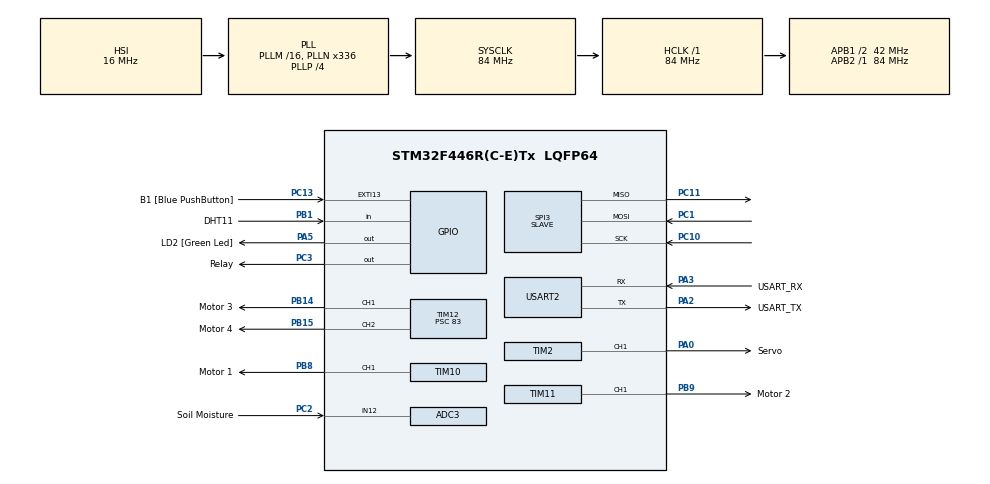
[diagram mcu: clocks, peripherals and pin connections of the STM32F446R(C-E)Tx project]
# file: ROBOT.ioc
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ADC3.Channel-0\#ChannelRegularConversion=ADC_CHANNEL_12
ADC3.ClockPrescaler=ADC_CLOCK_SYNC_PCLK_DIV6
ADC3.ContinuousConvMode=ENABLE
ADC3.NbrOfConversionFlag=1
ADC3.Rank-0\#ChannelRegularConversion=1
ADC3.SamplingTime-0\#ChannelRegularConversion=ADC_SAMPLETIME_3CYCLES
FREERTOS.Tasks01=TASK1,0,128,TASK1_Init,Default,NULL,Dynamic,NULL,NULL;TASK2,0,128,TASK2_Init,Default,NULL,Dynamic,NULL,NULL;TASK3,0,128,TASK3_Init,Default,NULL,Dynamic,NULL,NULL
FREERTOS.configUSE_NEWLIB_REENTRANT=1
Mcu.Family=STM32F4
Mcu.Name=STM32F446R(C-E)Tx
Mcu.Package=LQFP64
NVIC.PriorityGroup=NVIC_PRIORITYGROUP_4
NVIC.TIM1_UP_TIM10_IRQn=true\:15\:0\:false\:false\:true\:false\:false\:true\:true
NVIC.TimeBase=TIM1_UP_TIM10_IRQn
NVIC.TimeBaseIP=TIM1
PA0-WKUP.GPIO_Label=Servo
PA0-WKUP.Signal=S_TIM2_CH1_ETR
PA13.GPIO_Label=TMS
PA13.Mode=Serial_Wire
PA13.Signal=SYS_JTMS-SWDIO
PA14.GPIO_Label=TCK
PA14.Mode=Serial_Wire
PA14.Signal=SYS_JTCK-SWCLK
PA2.GPIO_Label=USART_TX
PA2.Mode=Asynchronous
PA2.Signal=USART2_TX
PA3.GPIO_Label=USART_RX
PA3.Mode=Asynchronous
PA3.Signal=USART2_RX
PA5.GPIO_Label=LD2 [Green Led]
PA5.Signal=GPIO_Output
PB1.GPIO_Label=DHT11
PB1.Signal=GPIO_Input
PB14.GPIO_Label=Motor 3
PB14.Signal=S_TIM12_CH1
PB15.GPIO_Label=Motor 4
PB15.Signal=S_TIM12_CH2
PB3.GPIO_Label=SWO
PB3.Signal=SYS_JTDO-SWO
PB8.GPIO_Label=Motor 1
PB8.Signal=S_TIM10_CH1
PB9.GPIO_Label=Motor 2
PB9.Signal=S_TIM11_CH1
PC1.Mode=Full_Duplex_Slave
PC1.Signal=SPI3_MOSI
PC10.Mode=Full_Duplex_Slave
PC10.Signal=SPI3_SCK
PC11.Mode=Full_Duplex_Slave
PC11.Signal=SPI3_MISO
PC13.GPIO_Label=B1 [Blue PushButton]
PC13.GPIO_ModeDefaultEXTI=GPIO_MODE_IT_FALLING
PC13.Signal=GPXTI13
PC14-OSC32_IN.Mode=LSE-External-Oscillator
PC14-OSC32_IN.Signal=RCC_OSC32_IN
PC15-OSC32_OUT.Mode=LSE-External-Oscillator
PC15-OSC32_OUT.Signal=RCC_OSC32_OUT
PC2.GPIO_Label=Soil Moisture
PC2.Signal=ADCx_IN12
PC3.GPIO_Label=Relay
PC3.Signal=GPIO_Output
PH0-OSC_IN.Mode=HSE-External-Oscillator
PH0-OSC_IN.Signal=RCC_OSC_IN
PH1-OSC_OUT.Mode=HSE-External-Oscillator
PH1-OSC_OUT.Signal=RCC_OSC_OUT
ProjectManager.HeapSize=0x200
ProjectManager.StackSize=0x400
ProjectManager.TargetToolchain=STM32CubeIDE
RCC.48MHZClocksFreq_Value=84000000
RCC.AHBFreq_Value=84000000
RCC.APB1CLKDivider=RCC_HCLK_DIV2
RCC.APB1Freq_Value=42000000
RCC.APB1TimFreq_Value=84000000
RCC.APB2Freq_Value=84000000
RCC.APB2TimFreq_Value=84000000
RCC.CortexFreq_Value=84000000
RCC.FLatency-AdvancedSettings=FLASH_LATENCY_2
RCC.HCLKFreq_Value=84000000
RCC.HSE_VALUE=8000000
RCC.HSI_VALUE=16000000
RCC.PLLN=336
RCC.PLLP=RCC_PLLP_DIV4
RCC.SYSCLKFreq_VALUE=84000000
RCC.SYSCLKSource=RCC_SYSCLKSOURCE_PLLCLK
RCC.USBFreq_Value=168000000
RCC.VCOOutputFreq_Value=336000000
SH.ADCx_IN12.0=ADC3_IN12,IN12
SH.S_TIM10_CH1.0=TIM10_CH1,PWM Generation1 CH1
SH.S_TIM11_CH1.0=TIM11_CH1,PWM Generation1 CH1
SH.S_TIM12_CH1.0=TIM12_CH1,PWM Generation1 CH1
SH.S_TIM12_CH2.0=TIM12_CH2,PWM Generation2 CH2
SH.S_TIM2_CH1_ETR.0=TIM2_CH1,PWM Generation1 CH1
SPI3.Direction=SPI_DIRECTION_2LINES
SPI3.Mode=SPI_MODE_SLAVE
SPI3.VirtualType=VM_SLAVE
TIM10.Channel=TIM_CHANNEL_1
TIM10.Period=999
TIM10.Prescaler=83
TIM11.Channel=TIM_CHANNEL_1
TIM11.Period=999
TIM11.Prescaler=83
TIM12.Channel-PWM\ Generation1\ CH1=TIM_CHANNEL_1
TIM12.Channel-PWM\ Generation2\ CH2=TIM_CHANNEL_2
TIM12.Period=999
TIM12.Prescaler=83
TIM2.Channel-PWM\ Generation1\ CH1=TIM_CHANNEL_1
TIM2.Period=1999
TIM2.Prescaler=839
TIM3.Period=65535-1
TIM3.Prescaler=84-1
USART2.VirtualMode=VM_ASYNC
VP_FREERTOS_VS_CMSIS_V1.Mode=CMSIS_V1
VP_SYS_VS_tim1.Mode=TIM1
VP_TIM10_VS_ClockSourceINT.Mode=Enable_Timer
VP_TIM11_VS_ClockSourceINT.Mode=Enable_Timer
VP_TIM2_VS_ClockSourceINT.Mode=Internal
VP_TIM3_VS_ClockSourceINT.Mode=Internal
board=NUCLEO-F446RE

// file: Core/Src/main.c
/* USER CODE BEGIN Header */
/**
  ******************************************************************************
  * @file           : main.c
  * @brief          : Main program body
  ******************************************************************************
  * @attention
  *
  * Copyright (c) 2025 STMicroelectronics.
  * All rights reserved.
  *
  * This software is licensed under terms that can be found in the LICENSE file
  * in the root directory of this software component.
  * If no LICENSE file comes with this software, it is provided AS-IS.
  *
  ******************************************************************************
  */
/* USER CODE END Header */
#include "main.h"
#include "cmsis_os.h"

/* USER CODE BEGIN Includes */
#include "mechanism.h"
#include "gripper.h"
#include "soil_moisture.h"
#include "DHT11.h"
#include "pump.h"
#include "NRF24L01.h"
#include "stdbool.h"

/* USER CODE END Includes */

ADC_HandleTypeDef hadc3;

SPI_HandleTypeDef hspi3;

TIM_HandleTypeDef htim2;
TIM_HandleTypeDef htim3;
TIM_HandleTypeDef htim10;
TIM_HandleTypeDef htim11;
TIM_HandleTypeDef htim12;

UART_HandleTypeDef huart2;

osThreadId TASK1Handle;
osThreadId TASK2Handle;
osThreadId TASK3Handle;

void SystemClock_Config(void);
static void MX_GPIO_Init(void);
static void MX_ADC3_Init(void);
static void MX_TIM2_Init(void);
static void MX_TIM3_Init(void);
static void MX_TIM10_Init(void);
static void MX_TIM11_Init(void);
static void MX_TIM12_Init(void);
static void MX_USART2_UART_Init(void);
static void MX_SPI3_Init(void);
void TASK1_Init(void const * argument);
void TASK2_Init(void const * argument);
void TASK3_Init(void const * argument);

/* USER CODE BEGIN PFP */
void processJoystick(uint8_t *data);  // MISRA 8.4 - Function declaration
void checkSoilAndPump(void);
/* USER CODE END PFP */

/* USER CODE BEGIN 0 */
uint8_t RxData[10];  // MISRA 9.3 - Will be initialized in main loop
const uint8_t rxAddress[5] = {'R', 'x', 'A', 'A', 'A'};  // MISRA 8.12 - Constant data
gripper_t gripper;
dht11_t dht;
soil_moisture_t soilSensor;

/* USER CODE BEGIN 0 */
void processJoystick(uint8_t *data)
{
    /* MISRA 10.3 - Cast to uint16_t to ensure correct type */
    uint16_t RY = (uint16_t)((data[0] << 8) | data[1]);
    uint16_t RX = (uint16_t)((data[2] << 8) | data[3]);
    uint16_t LY = (uint16_t)((data[4] << 8) | data[5]);
    uint16_t LX = (uint16_t)((data[6] << 8) | data[7]);
    uint8_t RB = data[8];  // Original type preserved
    uint8_t LB = data[9];

    /* Original logic exactly preserved */
    if (LY > 3000) {  // MISRA 10.1 - Literal remains same
        moveForward();
    } else if (LY < 1000) {
        moveBackward();
    } else if (RX > 3000) {
        turnRight();
    } else if (RX < 1000) {
        turnLeft();
    } else {
        stopMotors();
    }

    if (RB) {
        grip(&gripper);
    } else if (LB) {
        release(&gripper);
    }
}

void checkSoilAndPump()
{
	  readMoisture(&soilSensor);
    if (soilSensor.moisture < 40) {
        setPump(ON);
    } else {
        setPump(OFF);
    }
}

/* USER CODE END 0 */

int main(void)
{

  /* USER CODE BEGIN 1 */
	NRF24_Init();
	NRF24_RxMode((uint8_t*)rxAddress, 52); // MISRA 11.3 - Added cast
	initAllMotors();
	initGripper(&gripper, &htim2, TIM_CHANNEL_1);
	initDHT(&dht, &htim3, GPIOB, GPIO_PIN_1);
	initSoilMoisture(&soilSensor, &hadc3);
  /* USER CODE END 1 */

  /* MCU Configuration--------------------------------------------------------*/

  /* Reset of all peripherals, Initializes the Flash interface and the Systick. */
  HAL_Init();

  /* Configure the system clock */
  SystemClock_Config();

  /* Initialize all configured peripherals */
  MX_GPIO_Init();
  MX_ADC3_Init();
  MX_TIM2_Init();
  MX_TIM3_Init();
  MX_TIM10_Init();
  MX_TIM11_Init();
  MX_TIM12_Init();
  MX_USART2_UART_Init();
  MX_SPI3_Init();

  /* Create the thread(s) */
  /* definition and creation of TASK1 */
  osThreadDef(TASK1, TASK1_Init, osPriorityNormal, 0, 128);
  TASK1Handle = osThreadCreate(osThread(TASK1), NULL);

  /* definition and creation of TASK2 */
  osThreadDef(TASK2, TASK2_Init, osPriorityNormal, 0, 128);
  TASK2Handle = osThreadCreate(osThread(TASK2), NULL);

  /* definition and creation of TASK3 */
  osThreadDef(TASK3, TASK3_Init, osPriorityNormal, 0, 128);
  TASK3Handle = osThreadCreate(osThread(TASK3), NULL);

  /* Start scheduler */
  osKernelStart();

  /* We should never get here as control is now taken by the scheduler */

  /* Infinite loop */
  /* USER CODE BEGIN WHILE */
  while (1) // MISRA 15.4 - Exception for main loop
  {
    /* USER CODE END WHILE */

    /* USER CODE BEGIN 3 */
		HAL_Delay(100);
  }
  /* USER CODE END 3 */
}

void SystemClock_Config(void)
{
  RCC_OscInitTypeDef RCC_OscInitStruct = {0};
  RCC_ClkInitTypeDef RCC_ClkInitStruct = {0};

  /** Configure the main internal regulator output voltage
  */
  __HAL_RCC_PWR_CLK_ENABLE();
  __HAL_PWR_VOLTAGESCALING_CONFIG(PWR_REGULATOR_VOLTAGE_SCALE3);

  /** Initializes the RCC Oscillators according to the specified parameters
  * in the RCC_OscInitTypeDef structure.
  */
  RCC_OscInitStruct.OscillatorType = RCC_OSCILLATORTYPE_HSI;
  RCC_OscInitStruct.HSIState = RCC_HSI_ON;
  RCC_OscInitStruct.HSICalibrationValue = RCC_HSICALIBRATION_DEFAULT;
  RCC_OscInitStruct.PLL.PLLState = RCC_PLL_ON;
  RCC_OscInitStruct.PLL.PLLSource = RCC_PLLSOURCE_HSI;
  RCC_OscInitStruct.PLL.PLLM = 16;
  RCC_OscInitStruct.PLL.PLLN = 336;
  RCC_OscInitStruct.PLL.PLLP = RCC_PLLP_DIV4;
  RCC_OscInitStruct.PLL.PLLQ = 2;
  RCC_OscInitStruct.PLL.PLLR = 2;
  if (HAL_RCC_OscConfig(&RCC_OscInitStruct) != HAL_OK)
  {
    Error_Handler();
  }

  /** Initializes the CPU, AHB and APB buses clocks
  */
  RCC_ClkInitStruct.ClockType = RCC_CLOCKTYPE_HCLK|RCC_CLOCKTYPE_SYSCLK
                              |RCC_CLOCKTYPE_PCLK1|RCC_CLOCKTYPE_PCLK2;
  RCC_ClkInitStruct.SYSCLKSource = RCC_SYSCLKSOURCE_PLLCLK;
  RCC_ClkInitStruct.AHBCLKDivider = RCC_SYSCLK_DIV1;
  RCC_ClkInitStruct.APB1CLKDivider = RCC_HCLK_DIV2;
  RCC_ClkInitStruct.APB2CLKDivider = RCC_HCLK_DIV1;

  if (HAL_RCC_ClockConfig(&RCC_ClkInitStruct, FLASH_LATENCY_2) != HAL_OK)
  {
    Error_Handler();
  }
}

static void MX_ADC3_Init(void)
{

  ADC_ChannelConfTypeDef sConfig = {0};

  /** Configure the global features of the ADC (Clock, Resolution, Data Alignment and number of conversion)
  */
  hadc3.Instance = ADC3;
  hadc3.Init.ClockPrescaler = ADC_CLOCK_SYNC_PCLK_DIV6;
  hadc3.Init.Resolution = ADC_RESOLUTION_12B;
  hadc3.Init.ScanConvMode = DISABLE;
  hadc3.Init.ContinuousConvMode = ENABLE;
  hadc3.Init.DiscontinuousConvMode = DISABLE;
  hadc3.Init.ExternalTrigConvEdge = ADC_EXTERNALTRIGCONVEDGE_NONE;
  hadc3.Init.ExternalTrigConv = ADC_SOFTWARE_START;
  hadc3.Init.DataAlign = ADC_DATAALIGN_RIGHT;
  hadc3.Init.NbrOfConversion = 1;
  hadc3.Init.DMAContinuousRequests = DISABLE;
  hadc3.Init.EOCSelection = ADC_EOC_SINGLE_CONV;
  if (HAL_ADC_Init(&hadc3) != HAL_OK)
  {
    Error_Handler();
  }

  /** Configure for the selected ADC regular channel its corresponding rank in the sequencer and its sample time.
  */
  sConfig.Channel = ADC_CHANNEL_12;
  sConfig.Rank = 1;
  sConfig.SamplingTime = ADC_SAMPLETIME_3CYCLES;
  if (HAL_ADC_ConfigChannel(&hadc3, &sConfig) != HAL_OK)
  {
    Error_Handler();
  }

}

static void MX_SPI3_Init(void)
{

  /* SPI3 parameter configuration*/
  hspi3.Instance = SPI3;
  hspi3.Init.Mode = SPI_MODE_SLAVE;
  hspi3.Init.Direction = SPI_DIRECTION_2LINES;
  hspi3.Init.DataSize = SPI_DATASIZE_8BIT;
  hspi3.Init.CLKPolarity = SPI_POLARITY_LOW;
  hspi3.Init.CLKPhase = SPI_PHASE_1EDGE;
  hspi3.Init.NSS = SPI_NSS_SOFT;
  hspi3.Init.FirstBit = SPI_FIRSTBIT_MSB;
  hspi3.Init.TIMode = SPI_TIMODE_DISABLE;
  hspi3.Init.CRCCalculation = SPI_CRCCALCULATION_DISABLE;
  hspi3.Init.CRCPolynomial = 10;
  if (HAL_SPI_Init(&hspi3) != HAL_OK)
  {
    Error_Handler();
  }

}

static void MX_TIM2_Init(void)
{

  TIM_ClockConfigTypeDef sClockSourceConfig = {0};
  TIM_MasterConfigTypeDef sMasterConfig = {0};
  TIM_OC_InitTypeDef sConfigOC = {0};

  htim2.Instance = TIM2;
  htim2.Init.Prescaler = 839;
  htim2.Init.CounterMode = TIM_COUNTERMODE_UP;
  htim2.Init.Period = 1999;
  htim2.Init.ClockDivision = TIM_CLOCKDIVISION_DIV1;
  htim2.Init.AutoReloadPreload = TIM_AUTORELOAD_PRELOAD_DISABLE;
  if (HAL_TIM_Base_Init(&htim2) != HAL_OK)
  {
    Error_Handler();
  }
  sClockSourceConfig.ClockSource = TIM_CLOCKSOURCE_INTERNAL;
  if (HAL_TIM_ConfigClockSource(&htim2, &sClockSourceConfig) != HAL_OK)
  {
    Error_Handler();
  }
  if (HAL_TIM_PWM_Init(&htim2) != HAL_OK)
  {
    Error_Handler();
  }
  sMasterConfig.MasterOutputTrigger = TIM_TRGO_RESET;
  sMasterConfig.MasterSlaveMode = TIM_MASTERSLAVEMODE_DISABLE;
  if (HAL_TIMEx_MasterConfigSynchronization(&htim2, &sMasterConfig) != HAL_OK)
  {
    Error_Handler();
  }
  sConfigOC.OCMode = TIM_OCMODE_PWM1;
  sConfigOC.Pulse = 0;
  sConfigOC.OCPolarity = TIM_OCPOLARITY_HIGH;
  sConfigOC.OCFastMode = TIM_OCFAST_DISABLE;
  if (HAL_TIM_PWM_ConfigChannel(&htim2, &sConfigOC, TIM_CHANNEL_1) != HAL_OK)
  {
    Error_Handler();
  }
  HAL_TIM_MspPostInit(&htim2);

}

static void MX_TIM3_Init(void)
{

  TIM_ClockConfigTypeDef sClockSourceConfig = {0};
  TIM_MasterConfigTypeDef sMasterConfig = {0};

  htim3.Instance = TIM3;
  htim3.Init.Prescaler = 84-1;
  htim3.Init.CounterMode = TIM_COUNTERMODE_UP;
  htim3.Init.Period = 65535-1;
  htim3.Init.ClockDivision = TIM_CLOCKDIVISION_DIV1;
  htim3.Init.AutoReloadPreload = TIM_AUTORELOAD_PRELOAD_DISABLE;
  if (HAL_TIM_Base_Init(&htim3) != HAL_OK)
  {
    Error_Handler();
  }
  sClockSourceConfig.ClockSource = TIM_CLOCKSOURCE_INTERNAL;
  if (HAL_TIM_ConfigClockSource(&htim3, &sClockSourceConfig) != HAL_OK)
  {
    Error_Handler();
  }
  sMasterConfig.MasterOutputTrigger = TIM_TRGO_RESET;
  sMasterConfig.MasterSlaveMode = TIM_MASTERSLAVEMODE_DISABLE;
  if (HAL_TIMEx_MasterConfigSynchronization(&htim3, &sMasterConfig) != HAL_OK)
  {
    Error_Handler();
  }

}

static void MX_TIM10_Init(void)
{

  TIM_OC_InitTypeDef sConfigOC = {0};

  htim10.Instance = TIM10;
  htim10.Init.Prescaler = 83;
  htim10.Init.CounterMode = TIM_COUNTERMODE_UP;
  htim10.Init.Period = 999;
  htim10.Init.ClockDivision = TIM_CLOCKDIVISION_DIV1;
  htim10.Init.AutoReloadPreload = TIM_AUTORELOAD_PRELOAD_DISABLE;
  if (HAL_TIM_Base_Init(&htim10) != HAL_OK)
  {
    Error_Handler();
  }
  if (HAL_TIM_PWM_Init(&htim10) != HAL_OK)
  {
    Error_Handler();
  }
  sConfigOC.OCMode = TIM_OCMODE_PWM1;
  sConfigOC.Pulse = 0;
  sConfigOC.OCPolarity = TIM_OCPOLARITY_HIGH;
  sConfigOC.OCFastMode = TIM_OCFAST_DISABLE;
  if (HAL_TIM_PWM_ConfigChannel(&htim10, &sConfigOC, TIM_CHANNEL_1) != HAL_OK)
  {
    Error_Handler();
  }
  HAL_TIM_MspPostInit(&htim10);

}

static void MX_TIM11_Init(void)
{

  TIM_OC_InitTypeDef sConfigOC = {0};

  htim11.Instance = TIM11;
  htim11.Init.Prescaler = 83;
  htim11.Init.CounterMode = TIM_COUNTERMODE_UP;
  htim11.Init.Period = 999;
  htim11.Init.ClockDivision = TIM_CLOCKDIVISION_DIV1;
  htim11.Init.AutoReloadPreload = TIM_AUTORELOAD_PRELOAD_DISABLE;
  if (HAL_TIM_Base_Init(&htim11) != HAL_OK)
  {
    Error_Handler();
  }
  if (HAL_TIM_PWM_Init(&htim11) != HAL_OK)
  {
    Error_Handler();
  }
  sConfigOC.OCMode = TIM_OCMODE_PWM1;
  sConfigOC.Pulse = 0;
  sConfigOC.OCPolarity = TIM_OCPOLARITY_HIGH;
  sConfigOC.OCFastMode = TIM_OCFAST_DISABLE;
  if (HAL_TIM_PWM_ConfigChannel(&htim11, &sConfigOC, TIM_CHANNEL_1) != HAL_OK)
  {
    Error_Handler();
  }
  HAL_TIM_MspPostInit(&htim11);

}

static void MX_TIM12_Init(void)
{

  TIM_OC_InitTypeDef sConfigOC = {0};

  htim12.Instance = TIM12;
  htim12.Init.Prescaler = 83;
  htim12.Init.CounterMode = TIM_COUNTERMODE_UP;
  htim12.Init.Period = 999;
  htim12.Init.ClockDivision = TIM_CLOCKDIVISION_DIV1;
  htim12.Init.AutoReloadPreload = TIM_AUTORELOAD_PRELOAD_DISABLE;
  if (HAL_TIM_PWM_Init(&htim12) != HAL_OK)
  {
    Error_Handler();
  }
  sConfigOC.OCMode = TIM_OCMODE_PWM1;
  sConfigOC.Pulse = 0;
  sConfigOC.OCPolarity = TIM_OCPOLARITY_HIGH;
  sConfigOC.OCFastMode = TIM_OCFAST_DISABLE;
  if (HAL_TIM_PWM_ConfigChannel(&htim12, &sConfigOC, TIM_CHANNEL_1) != HAL_OK)
  {
    Error_Handler();
  }
  if (HAL_TIM_PWM_ConfigChannel(&htim12, &sConfigOC, TIM_CHANNEL_2) != HAL_OK)
  {
    Error_Handler();
  }
  HAL_TIM_MspPostInit(&htim12);

}

static void MX_USART2_UART_Init(void)
{

  huart2.Instance = USART2;
  huart2.Init.BaudRate = 115200;
  huart2.Init.WordLength = UART_WORDLENGTH_8B;
  huart2.Init.StopBits = UART_STOPBITS_1;
  huart2.Init.Parity = UART_PARITY_NONE;
  huart2.Init.Mode = UART_MODE_TX_RX;
  huart2.Init.HwFlowCtl = UART_HWCONTROL_NONE;
  huart2.Init.OverSampling = UART_OVERSAMPLING_16;
  if (HAL_UART_Init(&huart2) != HAL_OK)
  {
    Error_Handler();
  }

}

static void MX_GPIO_Init(void)
{
  GPIO_InitTypeDef GPIO_InitStruct = {0};

  /* GPIO Ports Clock Enable */
  __HAL_RCC_GPIOC_CLK_ENABLE();
  __HAL_RCC_GPIOH_CLK_ENABLE();
  __HAL_RCC_GPIOA_CLK_ENABLE();
  __HAL_RCC_GPIOB_CLK_ENABLE();

  /*Configure GPIO pin Output Level */
  HAL_GPIO_WritePin(Relay_GPIO_Port, Relay_Pin, GPIO_PIN_RESET);

  /*Configure GPIO pin Output Level */
  HAL_GPIO_WritePin(LD2_GPIO_Port, LD2_Pin, GPIO_PIN_RESET);

  /*Configure GPIO pin : B1_Pin */
  GPIO_InitStruct.Pin = B1_Pin;
  GPIO_InitStruct.Mode = GPIO_MODE_IT_FALLING;
  GPIO_InitStruct.Pull = GPIO_NOPULL;
  HAL_GPIO_Init(B1_GPIO_Port, &GPIO_InitStruct);

  /*Configure GPIO pin : Relay_Pin */
  GPIO_InitStruct.Pin = Relay_Pin;
  GPIO_InitStruct.Mode = GPIO_MODE_OUTPUT_PP;
  GPIO_InitStruct.Pull = GPIO_NOPULL;
  GPIO_InitStruct.Speed = GPIO_SPEED_FREQ_LOW;
  HAL_GPIO_Init(Relay_GPIO_Port, &GPIO_InitStruct);

  /*Configure GPIO pin : LD2_Pin */
  GPIO_InitStruct.Pin = LD2_Pin;
  GPIO_InitStruct.Mode = GPIO_MODE_OUTPUT_PP;
  GPIO_InitStruct.Pull = GPIO_NOPULL;
  GPIO_InitStruct.Speed = GPIO_SPEED_FREQ_LOW;
  HAL_GPIO_Init(LD2_GPIO_Port, &GPIO_InitStruct);

  /*Configure GPIO pin : DHT11_Pin */
  GPIO_InitStruct.Pin = DHT11_Pin;
  GPIO_InitStruct.Mode = GPIO_MODE_INPUT;
  GPIO_InitStruct.Pull = GPIO_NOPULL;
  HAL_GPIO_Init(DHT11_GPIO_Port, &GPIO_InitStruct);

}

void TASK1_Init(void const * argument)
{
  /* USER CODE BEGIN 5 */
  /* Infinite loop */
  for(;;)
  {
	processJoystick(RxData);
    osDelay(100);
  }
  /* USER CODE END 5 */
}

void TASK2_Init(void const * argument)
{
  /* USER CODE BEGIN TASK2_Init */
  /* Infinite loop */
  for(;;)
  {
	checkSoilAndPump();
    osDelay(500);
  }
  /* USER CODE END TASK2_Init */
}

void TASK3_Init(void const * argument)
{
  /* USER CODE BEGIN TASK3_Init */
  /* Infinite loop */
  for(;;)
  {
	readDHT(&dht);
    osDelay(100);
  }
  /* USER CODE END TASK3_Init */
}

void HAL_TIM_PeriodElapsedCallback(TIM_HandleTypeDef *htim)
{
  if (htim->Instance == TIM1) {
    HAL_IncTick();
  }
}

void Error_Handler(void)
{
  __disable_irq();
  while (1)
  {
  }
}
